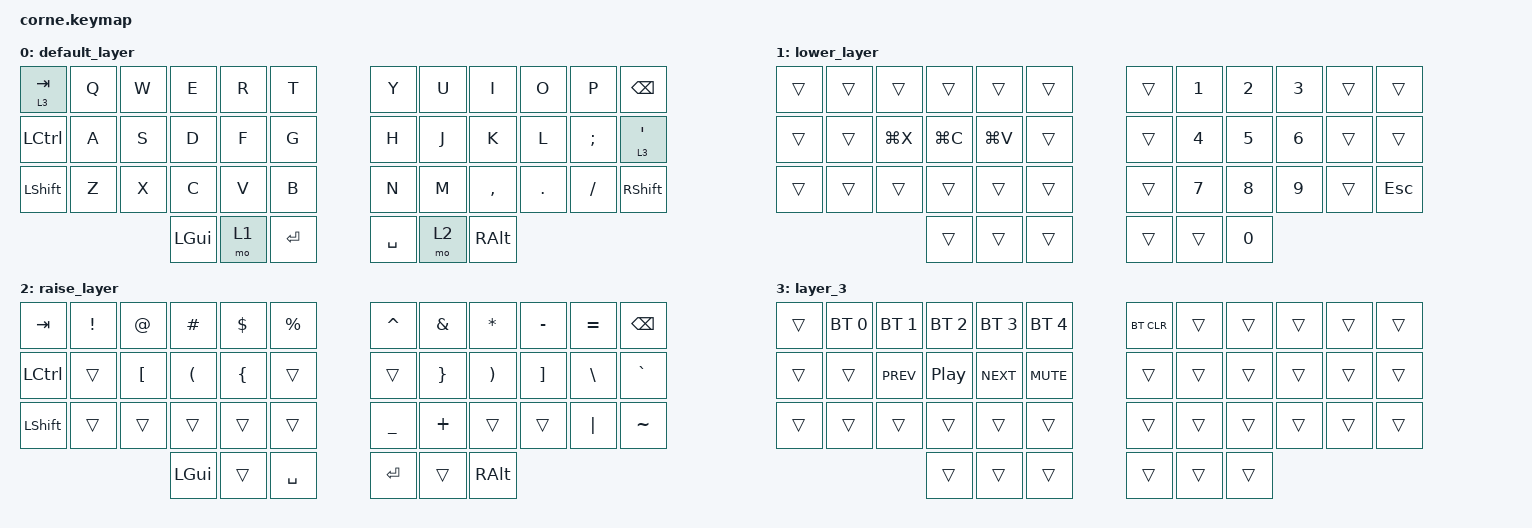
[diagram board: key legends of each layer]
/*
 * Copyright (c) 2020 The ZMK Contributors
 *
 * SPDX-License-Identifier: MIT
 */

#include <behaviors.dtsi>
#include <dt-bindings/zmk/bt.h>
#include <dt-bindings/zmk/keys.h>

/ {
    keymap {
        compatible = "zmk,keymap";

        default_layer {
            // -----------------------------------------------------------------------------------------
            // |  TAB |  Q  |  W  |  E  |  R  |  T  |   |  Y  |  U   |  I  |  O  |  P  | BSPC |
            // | CTRL |  A  |  S  |  D  |  F  |  G  |   |  H  |  J   |  K  |  L  |  ;  |  '   |
            // | SHFT |  Z  |  X  |  C  |  V  |  B  |   |  N  |  M   |  ,  |  .  |  /  | ESC  |
            //                    | GUI | LWR | SPC |   | ENT | RSE  | ALT |

            bindings = <
&lt 3 TAB  &kp Q  &kp W  &kp E     &kp R  &kp T      &kp Y      &kp U  &kp I      &kp O    &kp P     &kp BSPC
&kp LCTRL  &kp A  &kp S  &kp D     &kp F  &kp G      &kp H      &kp J  &kp K      &kp L    &kp SEMI  &lt 3 SQT
&kp LSHFT  &kp Z  &kp X  &kp C     &kp V  &kp B      &kp N      &kp M  &kp COMMA  &kp DOT  &kp FSLH  &kp RIGHT_SHIFT
                         &kp LGUI  &mo 1  &kp RET    &kp SPACE  &mo 2  &kp RALT
            >;
        };

        lower_layer {
            // -----------------------------------------------------------------------------------------
            // |  TAB |  1  |  2  |  3  |  4  |  5  |   |  6  |  7  |  8  |  9  |  0  | BSPC |
            // | BTCLR| BT1 | BT2 | BT3 | BT4 | BT5 |   | LFT | DWN |  UP | RGT |     |      |
            // | SHFT |     |     |     |     |     |   |     |     |     |     |     |      |
            //                    | GUI |     | SPC |   | ENT |     | ALT |

            bindings = <
&trans  &trans  &trans     &trans     &trans     &trans    &trans  &kp NUMBER_1  &kp NUMBER_2  &kp NUMBER_3  &trans  &trans
&trans  &trans  &kp LG(X)  &kp LG(C)  &kp LG(V)  &trans    &trans  &kp N4        &kp N5        &kp N6        &trans  &trans
&trans  &trans  &trans     &trans     &trans     &trans    &trans  &kp N7        &kp N8        &kp N9        &trans  &kp ESC
                           &trans     &trans     &trans    &trans  &trans        &kp N0
            >;
        };

        raise_layer {
            // -----------------------------------------------------------------------------------------
            // |  TAB |  !  |  @  |  #  |  $  |  %  |   |  ^  |  &  |  *  |  (  |  )  | BSPC |
            // | CTRL |     |     |     |     |     |   |  -  |  =  |  [  |  ]  |  \  |  `   |
            // | SHFT |     |     |     |     |     |   |  _  |  +  |  {  |  }  | "|" |  ~   |
            //                    | GUI |     | SPC |   | ENT |     | ALT |

            bindings = <
&kp TAB    &kp EXCL  &kp AT            &kp HASH              &kp DLLR        &kp PRCNT    &kp CARET  &kp AMPS         &kp ASTRK              &kp MINUS  &kp EQUAL  &kp BSPC
&kp LCTRL  &trans    &kp LEFT_BRACKET  &kp LEFT_PARENTHESIS  &kp LEFT_BRACE  &trans       &trans     &kp RIGHT_BRACE  &kp RIGHT_PARENTHESIS  &kp RBKT   &kp BSLH   &kp GRAVE
&kp LSHFT  &trans    &trans            &trans                &trans          &trans       &kp UNDER  &kp PLUS         &trans                 &trans     &kp PIPE   &kp TILDE
                                       &kp LGUI              &trans          &kp SPACE    &kp RET    &trans           &kp RALT
            >;
        };

        layer_3 {
            bindings = <
&trans  &bt BT_SEL 0  &bt BT_SEL 1  &bt BT_SEL 2      &bt BT_SEL 3  &bt BT_SEL 4    &bt BT_CLR  &trans  &trans  &trans  &trans  &trans
&trans  &trans        &kp C_PREV    &kp C_PLAY_PAUSE  &kp C_NEXT    &kp C_MUTE      &trans      &trans  &trans  &trans  &trans  &trans
&trans  &trans        &trans        &trans            &trans        &trans          &trans      &trans  &trans  &trans  &trans  &trans
                                    &trans            &trans        &trans          &trans      &trans  &trans
            >;
        };
    };
};
